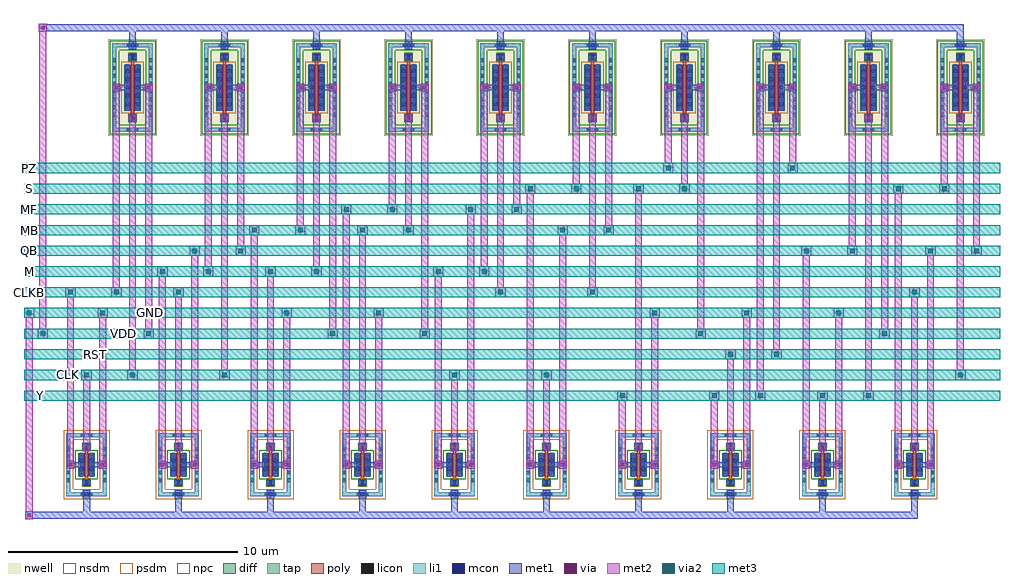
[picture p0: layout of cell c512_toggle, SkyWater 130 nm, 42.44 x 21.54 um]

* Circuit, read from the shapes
.subckt c512_toggle CLK CLKB GND M MB MF PZ QB RST S VDD Y
XM1 GND CLK CLKB GND sky130_fd_pr__nfet_01v8 w=1 l=0.15
XM2 QB CLKB M GND sky130_fd_pr__nfet_01v8 w=1 l=0.15
XM3 GND M MB GND sky130_fd_pr__nfet_01v8 w=1 l=0.15
XM4 GND MB MF GND sky130_fd_pr__nfet_01v8 w=1 l=0.15
XM5 MF CLK M GND sky130_fd_pr__nfet_01v8 w=1 l=0.15
XM6 MB CLK S GND sky130_fd_pr__nfet_01v8 w=1 l=0.15
XM7 GND S Y GND sky130_fd_pr__nfet_01v8 w=1 l=0.15
XM8 GND RST Y GND sky130_fd_pr__nfet_01v8 w=1 l=0.15
XM9 GND Y QB GND sky130_fd_pr__nfet_01v8 w=1 l=0.15
XM10 QB CLKB S GND sky130_fd_pr__nfet_01v8 w=1 l=0.15
XM11 VDD CLK CLKB VDD sky130_fd_pr__pfet_01v8 w=2 l=0.15
XM12 QB CLK M VDD sky130_fd_pr__pfet_01v8 w=2 l=0.15
XM13 VDD M MB VDD sky130_fd_pr__pfet_01v8 w=2 l=0.15
XM14 VDD MB MF VDD sky130_fd_pr__pfet_01v8 w=2 l=0.15
XM15 MF CLKB M VDD sky130_fd_pr__pfet_01v8 w=2 l=0.15
XM16 MB CLKB S VDD sky130_fd_pr__pfet_01v8 w=2 l=0.15
XM17 VDD S PZ VDD sky130_fd_pr__pfet_01v8 w=2 l=0.15
XM18 PZ RST Y VDD sky130_fd_pr__pfet_01v8 w=2 l=0.15
XM19 VDD Y QB VDD sky130_fd_pr__pfet_01v8 w=2 l=0.15
XM20 QB CLK S VDD sky130_fd_pr__pfet_01v8 w=2 l=0.15
.ends

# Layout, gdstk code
import gdstk
lib = gdstk.Library(unit=1e-6, precision=1e-09)
def R(c, l, rs):  # rectangles x0, y0, x1, y1
    for r in rs: c.add(gdstk.rectangle(r[:2], r[2:], *l))
def A(c, l, x, y, w, h, nx, ny, dx, dy):  # array of equal rectangles
    R(c, l, [(x+i*dx, y+j*dy, x+i*dx+w, y+j*dy+h) for i in range(nx) for j in range(ny)])
nwell = (64, 20)
diff = (65, 20)
tap = (65, 44)
poly = (66, 20)
licon = (66, 44)
li1 = (67, 20)
mcon = (67, 44)
met1 = (68, 20)
via = (68, 44)
met2 = (69, 20)
via2 = (69, 44)
met3 = (70, 20)
nsdm = (93, 44)
psdm = (94, 20)
npc = (95, 20)

c512_toggle = lib.new_cell('c512_toggle')
A(c512_toggle, nwell, 3.945, 14.305, 2.11, 4.19, 10, 1, 4, 0)
A(c512_toggle, diff, 2.635, -0.5, 0.73, 1, 10, 1, 4, 0)
A(c512_toggle, diff, 4.635, 15.4, 0.73, 2, 10, 1, 4, 0)
A(c512_toggle, tap, 2.125, -1.37, 1.75, 0.17, 10, 2, 4, 2.57)
A(c512_toggle, tap, 4.125, 14.485, 1.75, 0.17, 10, 2, 4, 3.66)
R(c512_toggle, tap, [(2.125,-1.2,2.295,1.2), (3.705,-1.2,3.875,1.2), (6.125,-1.2,6.295,1.2), (7.705,-1.2,7.875,1.2), (10.125,-1.2,10.295,1.2), (11.705,-1.2,11.875,1.2), (14.125,-1.2,14.295,1.2), (15.705,-1.2,15.875,1.2), (18.125,-1.2,18.295,1.2), (19.705,-1.2,19.875,1.2), (22.125,-1.2,22.295,1.2), (23.705,-1.2,23.875,1.2), (26.125,-1.2,26.295,1.2), (27.705,-1.2,27.875,1.2), (30.125,-1.2,30.295,1.2), (31.705,-1.2,31.875,1.2), (34.125,-1.2,34.295,1.2), (35.705,-1.2,35.875,1.2), (38.125,-1.2,38.295,1.2), (39.705,-1.2,39.875,1.2), (4.125,14.655,4.295,18.145), (5.705,14.655,5.875,18.145), (8.125,14.655,8.295,18.145), (9.705,14.655,9.875,18.145), (12.125,14.655,12.295,18.145), (13.705,14.655,13.875,18.145), (16.125,14.655,16.295,18.145), (17.705,14.655,17.875,18.145), (20.125,14.655,20.295,18.145), (21.705,14.655,21.875,18.145), (24.125,14.655,24.295,18.145), (25.705,14.655,25.875,18.145), (28.125,14.655,28.295,18.145), (29.705,14.655,29.875,18.145), (32.125,14.655,32.295,18.145), (33.705,14.655,33.875,18.145), (36.125,14.655,36.295,18.145), (37.705,14.655,37.875,18.145), (40.125,14.655,40.295,18.145), (41.705,14.655,41.875,18.145)])
A(c512_toggle, poly, 2.835, -0.94, 0.33, 0.33, 10, 2, 4, 1.55)
A(c512_toggle, poly, 2.925, -0.61, 0.15, 1.22, 10, 1, 4, 0)
A(c512_toggle, poly, 4.835, 14.915, 0.33, 0.33, 10, 2, 4, 2.64)
A(c512_toggle, poly, 4.925, 15.245, 0.15, 2.31, 10, 1, 4, 0)
A(c512_toggle, licon, 2.915, -0.86, 0.17, 0.17, 10, 2, 4, 1.55)
A(c512_toggle, licon, 2.125, -0.765, 0.17, 0.17, 1, 5, 0, 0.34)
A(c512_toggle, licon, 3.705, -0.765, 0.17, 0.17, 1, 5, 0, 0.34)
A(c512_toggle, licon, 6.125, -0.765, 0.17, 0.17, 1, 5, 0, 0.34)
A(c512_toggle, licon, 7.705, -0.765, 0.17, 0.17, 1, 5, 0, 0.34)
A(c512_toggle, licon, 10.125, -0.765, 0.17, 0.17, 1, 5, 0, 0.34)
A(c512_toggle, licon, 11.705, -0.765, 0.17, 0.17, 1, 5, 0, 0.34)
A(c512_toggle, licon, 14.125, -0.765, 0.17, 0.17, 1, 5, 0, 0.34)
A(c512_toggle, licon, 15.705, -0.765, 0.17, 0.17, 1, 5, 0, 0.34)
A(c512_toggle, licon, 18.125, -0.765, 0.17, 0.17, 1, 5, 0, 0.34)
A(c512_toggle, licon, 19.705, -0.765, 0.17, 0.17, 1, 5, 0, 0.34)
A(c512_toggle, licon, 22.125, -0.765, 0.17, 0.17, 1, 5, 0, 0.34)
A(c512_toggle, licon, 23.705, -0.765, 0.17, 0.17, 1, 5, 0, 0.34)
A(c512_toggle, licon, 26.125, -0.765, 0.17, 0.17, 1, 5, 0, 0.34)
A(c512_toggle, licon, 27.705, -0.765, 0.17, 0.17, 1, 5, 0, 0.34)
A(c512_toggle, licon, 30.125, -0.765, 0.17, 0.17, 1, 5, 0, 0.34)
A(c512_toggle, licon, 31.705, -0.765, 0.17, 0.17, 1, 5, 0, 0.34)
A(c512_toggle, licon, 34.125, -0.765, 0.17, 0.17, 1, 5, 0, 0.34)
A(c512_toggle, licon, 35.705, -0.765, 0.17, 0.17, 1, 5, 0, 0.34)
A(c512_toggle, licon, 38.125, -0.765, 0.17, 0.17, 1, 5, 0, 0.34)
A(c512_toggle, licon, 39.705, -0.765, 0.17, 0.17, 1, 5, 0, 0.34)
A(c512_toggle, licon, 2.695, -0.425, 0.17, 0.17, 1, 3, 0, 0.34)
A(c512_toggle, licon, 3.135, -0.425, 0.17, 0.17, 1, 3, 0, 0.34)
A(c512_toggle, licon, 6.695, -0.425, 0.17, 0.17, 1, 3, 0, 0.34)
A(c512_toggle, licon, 7.135, -0.425, 0.17, 0.17, 1, 3, 0, 0.34)
A(c512_toggle, licon, 10.695, -0.425, 0.17, 0.17, 1, 3, 0, 0.34)
A(c512_toggle, licon, 11.135, -0.425, 0.17, 0.17, 1, 3, 0, 0.34)
A(c512_toggle, licon, 14.695, -0.425, 0.17, 0.17, 1, 3, 0, 0.34)
A(c512_toggle, licon, 15.135, -0.425, 0.17, 0.17, 1, 3, 0, 0.34)
A(c512_toggle, licon, 18.695, -0.425, 0.17, 0.17, 1, 3, 0, 0.34)
A(c512_toggle, licon, 19.135, -0.425, 0.17, 0.17, 1, 3, 0, 0.34)
A(c512_toggle, licon, 22.695, -0.425, 0.17, 0.17, 1, 3, 0, 0.34)
A(c512_toggle, licon, 23.135, -0.425, 0.17, 0.17, 1, 3, 0, 0.34)
A(c512_toggle, licon, 26.695, -0.425, 0.17, 0.17, 1, 3, 0, 0.34)
A(c512_toggle, licon, 27.135, -0.425, 0.17, 0.17, 1, 3, 0, 0.34)
A(c512_toggle, licon, 30.695, -0.425, 0.17, 0.17, 1, 3, 0, 0.34)
A(c512_toggle, licon, 31.135, -0.425, 0.17, 0.17, 1, 3, 0, 0.34)
A(c512_toggle, licon, 34.695, -0.425, 0.17, 0.17, 1, 3, 0, 0.34)
A(c512_toggle, licon, 35.135, -0.425, 0.17, 0.17, 1, 3, 0, 0.34)
A(c512_toggle, licon, 38.695, -0.425, 0.17, 0.17, 1, 3, 0, 0.34)
A(c512_toggle, licon, 39.135, -0.425, 0.17, 0.17, 1, 3, 0, 0.34)
A(c512_toggle, licon, 4.915, 14.995, 0.17, 0.17, 10, 2, 4, 2.64)
A(c512_toggle, licon, 4.125, 15.125, 0.17, 0.17, 1, 8, 0, 0.34)
A(c512_toggle, licon, 5.705, 15.125, 0.17, 0.17, 1, 8, 0, 0.34)
A(c512_toggle, licon, 8.125, 15.125, 0.17, 0.17, 1, 8, 0, 0.34)
A(c512_toggle, licon, 9.705, 15.125, 0.17, 0.17, 1, 8, 0, 0.34)
A(c512_toggle, licon, 12.125, 15.125, 0.17, 0.17, 1, 8, 0, 0.34)
A(c512_toggle, licon, 13.705, 15.125, 0.17, 0.17, 1, 8, 0, 0.34)
A(c512_toggle, licon, 16.125, 15.125, 0.17, 0.17, 1, 8, 0, 0.34)
A(c512_toggle, licon, 17.705, 15.125, 0.17, 0.17, 1, 8, 0, 0.34)
A(c512_toggle, licon, 20.125, 15.125, 0.17, 0.17, 1, 8, 0, 0.34)
A(c512_toggle, licon, 21.705, 15.125, 0.17, 0.17, 1, 8, 0, 0.34)
A(c512_toggle, licon, 24.125, 15.125, 0.17, 0.17, 1, 8, 0, 0.34)
A(c512_toggle, licon, 25.705, 15.125, 0.17, 0.17, 1, 8, 0, 0.34)
A(c512_toggle, licon, 28.125, 15.125, 0.17, 0.17, 1, 8, 0, 0.34)
A(c512_toggle, licon, 29.705, 15.125, 0.17, 0.17, 1, 8, 0, 0.34)
A(c512_toggle, licon, 32.125, 15.125, 0.17, 0.17, 1, 8, 0, 0.34)
A(c512_toggle, licon, 33.705, 15.125, 0.17, 0.17, 1, 8, 0, 0.34)
A(c512_toggle, licon, 36.125, 15.125, 0.17, 0.17, 1, 8, 0, 0.34)
A(c512_toggle, licon, 37.705, 15.125, 0.17, 0.17, 1, 8, 0, 0.34)
A(c512_toggle, licon, 40.125, 15.125, 0.17, 0.17, 1, 8, 0, 0.34)
A(c512_toggle, licon, 41.705, 15.125, 0.17, 0.17, 1, 8, 0, 0.34)
A(c512_toggle, licon, 4.695, 15.465, 0.17, 0.17, 1, 6, 0, 0.34)
A(c512_toggle, licon, 5.135, 15.465, 0.17, 0.17, 1, 6, 0, 0.34)
A(c512_toggle, licon, 8.695, 15.465, 0.17, 0.17, 1, 6, 0, 0.34)
A(c512_toggle, licon, 9.135, 15.465, 0.17, 0.17, 1, 6, 0, 0.34)
A(c512_toggle, licon, 12.695, 15.465, 0.17, 0.17, 1, 6, 0, 0.34)
A(c512_toggle, licon, 13.135, 15.465, 0.17, 0.17, 1, 6, 0, 0.34)
A(c512_toggle, licon, 16.695, 15.465, 0.17, 0.17, 1, 6, 0, 0.34)
A(c512_toggle, licon, 17.135, 15.465, 0.17, 0.17, 1, 6, 0, 0.34)
A(c512_toggle, licon, 20.695, 15.465, 0.17, 0.17, 1, 6, 0, 0.34)
A(c512_toggle, licon, 21.135, 15.465, 0.17, 0.17, 1, 6, 0, 0.34)
A(c512_toggle, licon, 24.695, 15.465, 0.17, 0.17, 1, 6, 0, 0.34)
A(c512_toggle, licon, 25.135, 15.465, 0.17, 0.17, 1, 6, 0, 0.34)
A(c512_toggle, licon, 28.695, 15.465, 0.17, 0.17, 1, 6, 0, 0.34)
A(c512_toggle, licon, 29.135, 15.465, 0.17, 0.17, 1, 6, 0, 0.34)
A(c512_toggle, licon, 32.695, 15.465, 0.17, 0.17, 1, 6, 0, 0.34)
A(c512_toggle, licon, 33.135, 15.465, 0.17, 0.17, 1, 6, 0, 0.34)
A(c512_toggle, licon, 36.695, 15.465, 0.17, 0.17, 1, 6, 0, 0.34)
A(c512_toggle, licon, 37.135, 15.465, 0.17, 0.17, 1, 6, 0, 0.34)
A(c512_toggle, licon, 40.695, 15.465, 0.17, 0.17, 1, 6, 0, 0.34)
A(c512_toggle, licon, 41.135, 15.465, 0.17, 0.17, 1, 6, 0, 0.34)
R(c512_toggle, licon, [(2.745,-1.37,2.915,-1.2), (3.085,-1.37,3.255,-1.2), (6.745,-1.37,6.915,-1.2), (7.085,-1.37,7.255,-1.2), (10.745,-1.37,10.915,-1.2), (11.085,-1.37,11.255,-1.2), (14.745,-1.37,14.915,-1.2), (15.085,-1.37,15.255,-1.2), (18.745,-1.37,18.915,-1.2), (19.085,-1.37,19.255,-1.2), (22.745,-1.37,22.915,-1.2), (23.085,-1.37,23.255,-1.2), (26.745,-1.37,26.915,-1.2), (27.085,-1.37,27.255,-1.2), (30.745,-1.37,30.915,-1.2), (31.085,-1.37,31.255,-1.2), (34.745,-1.37,34.915,-1.2), (35.085,-1.37,35.255,-1.2), (38.745,-1.37,38.915,-1.2), (39.085,-1.37,39.255,-1.2), (2.745,1.2,2.915,1.37), (3.085,1.2,3.255,1.37), (6.745,1.2,6.915,1.37), (7.085,1.2,7.255,1.37), (10.745,1.2,10.915,1.37), (11.085,1.2,11.255,1.37), (14.745,1.2,14.915,1.37), (15.085,1.2,15.255,1.37), (18.745,1.2,18.915,1.37), (19.085,1.2,19.255,1.37), (22.745,1.2,22.915,1.37), (23.085,1.2,23.255,1.37), (26.745,1.2,26.915,1.37), (27.085,1.2,27.255,1.37), (30.745,1.2,30.915,1.37), (31.085,1.2,31.255,1.37), (34.745,1.2,34.915,1.37), (35.085,1.2,35.255,1.37), (38.745,1.2,38.915,1.37), (39.085,1.2,39.255,1.37), (4.745,14.485,4.915,14.655), (5.085,14.485,5.255,14.655), (8.745,14.485,8.915,14.655), (9.085,14.485,9.255,14.655), (12.745,14.485,12.915,14.655), (13.085,14.485,13.255,14.655), (16.745,14.485,16.915,14.655), (17.085,14.485,17.255,14.655), (20.745,14.485,20.915,14.655), (21.085,14.485,21.255,14.655), (24.745,14.485,24.915,14.655), (25.085,14.485,25.255,14.655), (28.745,14.485,28.915,14.655), (29.085,14.485,29.255,14.655), (32.745,14.485,32.915,14.655), (33.085,14.485,33.255,14.655), (36.745,14.485,36.915,14.655), (37.085,14.485,37.255,14.655), (40.745,14.485,40.915,14.655), (41.085,14.485,41.255,14.655), (4.745,18.145,4.915,18.315), (5.085,18.145,5.255,18.315), (8.745,18.145,8.915,18.315), (9.085,18.145,9.255,18.315), (12.745,18.145,12.915,18.315), (13.085,18.145,13.255,18.315), (16.745,18.145,16.915,18.315), (17.085,18.145,17.255,18.315), (20.745,18.145,20.915,18.315), (21.085,18.145,21.255,18.315), (24.745,18.145,24.915,18.315), (25.085,18.145,25.255,18.315), (28.745,18.145,28.915,18.315), (29.085,18.145,29.255,18.315), (32.745,18.145,32.915,18.315), (33.085,18.145,33.255,18.315), (36.745,18.145,36.915,18.315), (37.085,18.145,37.255,18.315), (40.745,18.145,40.915,18.315), (41.085,18.145,41.255,18.315)])
A(c512_toggle, li1, 2.83, -1.455, 0.34, 0.085, 10, 2, 4, 0.255)
A(c512_toggle, li1, 2.125, -1.37, 1.75, 0.17, 10, 2, 4, 2.57)
A(c512_toggle, li1, 2.835, -0.86, 0.33, 0.17, 10, 2, 4, 1.55)
A(c512_toggle, li1, 4.125, 14.485, 1.75, 0.17, 10, 2, 4, 3.66)
A(c512_toggle, li1, 4.835, 14.995, 0.33, 0.17, 10, 2, 4, 2.64)
A(c512_toggle, li1, 4.83, 18.06, 0.34, 0.085, 10, 2, 4, 0.255)
R(c512_toggle, li1, [(2.125,-1.2,2.295,1.2), (3.705,-1.2,3.875,1.2), (6.125,-1.2,6.295,1.2), (7.705,-1.2,7.875,1.2), (10.125,-1.2,10.295,1.2), (11.705,-1.2,11.875,1.2), (14.125,-1.2,14.295,1.2), (15.705,-1.2,15.875,1.2), (18.125,-1.2,18.295,1.2), (19.705,-1.2,19.875,1.2), (22.125,-1.2,22.295,1.2), (23.705,-1.2,23.875,1.2), (26.125,-1.2,26.295,1.2), (27.705,-1.2,27.875,1.2), (30.125,-1.2,30.295,1.2), (31.705,-1.2,31.875,1.2), (34.125,-1.2,34.295,1.2), (35.705,-1.2,35.875,1.2), (38.125,-1.2,38.295,1.2), (39.705,-1.2,39.875,1.2), (2.695,-0.52,2.865,0.52), (3.135,-0.52,3.305,0.52), (6.695,-0.52,6.865,0.52), (7.135,-0.52,7.305,0.52), (10.695,-0.52,10.865,0.52), (11.135,-0.52,11.305,0.52), (14.695,-0.52,14.865,0.52), (15.135,-0.52,15.305,0.52), (18.695,-0.52,18.865,0.52), (19.135,-0.52,19.305,0.52), (22.695,-0.52,22.865,0.52), (23.135,-0.52,23.305,0.52), (26.695,-0.52,26.865,0.52), (27.135,-0.52,27.305,0.52), (30.695,-0.52,30.865,0.52), (31.135,-0.52,31.305,0.52), (34.695,-0.52,34.865,0.52), (35.135,-0.52,35.305,0.52), (38.695,-0.52,38.865,0.52), (39.135,-0.52,39.305,0.52), (4.125,14.655,4.295,18.145), (5.705,14.655,5.875,18.145), (8.125,14.655,8.295,18.145), (9.705,14.655,9.875,18.145), (12.125,14.655,12.295,18.145), (13.705,14.655,13.875,18.145), (16.125,14.655,16.295,18.145), (17.705,14.655,17.875,18.145), (20.125,14.655,20.295,18.145), (21.705,14.655,21.875,18.145), (24.125,14.655,24.295,18.145), (25.705,14.655,25.875,18.145), (28.125,14.655,28.295,18.145), (29.705,14.655,29.875,18.145), (32.125,14.655,32.295,18.145), (33.705,14.655,33.875,18.145), (36.125,14.655,36.295,18.145), (37.705,14.655,37.875,18.145), (40.125,14.655,40.295,18.145), (41.705,14.655,41.875,18.145), (4.695,15.38,4.865,17.42), (5.135,15.38,5.305,17.42), (8.695,15.38,8.865,17.42), (9.135,15.38,9.305,17.42), (12.695,15.38,12.865,17.42), (13.135,15.38,13.305,17.42), (16.695,15.38,16.865,17.42), (17.135,15.38,17.305,17.42), (20.695,15.38,20.865,17.42), (21.135,15.38,21.305,17.42), (24.695,15.38,24.865,17.42), (25.135,15.38,25.305,17.42), (28.695,15.38,28.865,17.42), (29.135,15.38,29.305,17.42), (32.695,15.38,32.865,17.42), (33.135,15.38,33.305,17.42), (36.695,15.38,36.865,17.42), (37.135,15.38,37.305,17.42), (40.695,15.38,40.865,17.42), (41.135,15.38,41.305,17.42)])
A(c512_toggle, mcon, 2.915, -1.37, 0.17, 0.17, 10, 2, 4, 0.51)
A(c512_toggle, mcon, 2.915, 0.69, 0.17, 0.17, 10, 1, 4, 0)
A(c512_toggle, mcon, 4.915, 14.995, 0.17, 0.17, 10, 2, 4, 2.64)
A(c512_toggle, mcon, 4.695, 15.595, 0.17, 0.17, 1, 5, 0, 0.36)
A(c512_toggle, mcon, 5.135, 15.595, 0.17, 0.17, 1, 5, 0, 0.36)
A(c512_toggle, mcon, 8.695, 15.595, 0.17, 0.17, 1, 5, 0, 0.36)
A(c512_toggle, mcon, 9.135, 15.595, 0.17, 0.17, 1, 5, 0, 0.36)
A(c512_toggle, mcon, 12.695, 15.595, 0.17, 0.17, 1, 5, 0, 0.36)
A(c512_toggle, mcon, 13.135, 15.595, 0.17, 0.17, 1, 5, 0, 0.36)
A(c512_toggle, mcon, 16.695, 15.595, 0.17, 0.17, 1, 5, 0, 0.36)
A(c512_toggle, mcon, 17.135, 15.595, 0.17, 0.17, 1, 5, 0, 0.36)
A(c512_toggle, mcon, 20.695, 15.595, 0.17, 0.17, 1, 5, 0, 0.36)
A(c512_toggle, mcon, 21.135, 15.595, 0.17, 0.17, 1, 5, 0, 0.36)
A(c512_toggle, mcon, 24.695, 15.595, 0.17, 0.17, 1, 5, 0, 0.36)
A(c512_toggle, mcon, 25.135, 15.595, 0.17, 0.17, 1, 5, 0, 0.36)
A(c512_toggle, mcon, 28.695, 15.595, 0.17, 0.17, 1, 5, 0, 0.36)
A(c512_toggle, mcon, 29.135, 15.595, 0.17, 0.17, 1, 5, 0, 0.36)
A(c512_toggle, mcon, 32.695, 15.595, 0.17, 0.17, 1, 5, 0, 0.36)
A(c512_toggle, mcon, 33.135, 15.595, 0.17, 0.17, 1, 5, 0, 0.36)
A(c512_toggle, mcon, 36.695, 15.595, 0.17, 0.17, 1, 5, 0, 0.36)
A(c512_toggle, mcon, 37.135, 15.595, 0.17, 0.17, 1, 5, 0, 0.36)
A(c512_toggle, mcon, 40.695, 15.595, 0.17, 0.17, 1, 5, 0, 0.36)
A(c512_toggle, mcon, 41.135, 15.595, 0.17, 0.17, 1, 5, 0, 0.36)
A(c512_toggle, mcon, 4.915, 18.145, 0.17, 0.17, 10, 1, 4, 0)
R(c512_toggle, mcon, [(2.695,-0.265,2.865,-0.095), (3.135,-0.265,3.305,-0.095), (6.695,-0.265,6.865,-0.095), (7.135,-0.265,7.305,-0.095), (10.695,-0.265,10.865,-0.095), (11.135,-0.265,11.305,-0.095), (14.695,-0.265,14.865,-0.095), (15.135,-0.265,15.305,-0.095), (18.695,-0.265,18.865,-0.095), (19.135,-0.265,19.305,-0.095), (22.695,-0.265,22.865,-0.095), (23.135,-0.265,23.305,-0.095), (26.695,-0.265,26.865,-0.095), (27.135,-0.265,27.305,-0.095), (30.695,-0.265,30.865,-0.095), (31.135,-0.265,31.305,-0.095), (34.695,-0.265,34.865,-0.095), (35.135,-0.265,35.305,-0.095), (38.695,-0.265,38.865,-0.095), (39.135,-0.265,39.305,-0.095), (2.695,0.095,2.865,0.265), (3.135,0.095,3.305,0.265), (6.695,0.095,6.865,0.265), (7.135,0.095,7.305,0.265), (10.695,0.095,10.865,0.265), (11.135,0.095,11.305,0.265), (14.695,0.095,14.865,0.265), (15.135,0.095,15.305,0.265), (18.695,0.095,18.865,0.265), (19.135,0.095,19.305,0.265), (22.695,0.095,22.865,0.265), (23.135,0.095,23.305,0.265), (26.695,0.095,26.865,0.265), (27.135,0.095,27.305,0.265), (30.695,0.095,30.865,0.265), (31.135,0.095,31.305,0.265), (34.695,0.095,34.865,0.265), (35.135,0.095,35.305,0.265), (38.695,0.095,38.865,0.265), (39.135,0.095,39.305,0.265)])
A(c512_toggle, met1, 2.85, -2.05, 0.3, 0.595, 10, 1, 4, 0)
A(c512_toggle, met1, 2.83, -1.455, 0.34, 0.34, 10, 1, 4, 0)
A(c512_toggle, met1, 2.83, -0.905, 0.34, 0.26, 10, 2, 4, 1.55)
A(c512_toggle, met1, 4.83, 14.95, 0.34, 0.26, 10, 2, 4, 2.64)
A(c512_toggle, met1, 4.83, 18.06, 0.34, 0.34, 10, 1, 4, 0)
A(c512_toggle, met1, 4.85, 18.4, 0.3, 0.45, 10, 1, 4, 0)
R(c512_toggle, met1, [(0.33,-2.37,0.67,-2.35), (0.33,-2.35,39.15,-2.05), (0.33,-2.05,0.67,-2.03), (2.665,-0.5,2.895,-0.115), (3.105,-0.5,3.335,-0.115), (6.665,-0.5,6.895,-0.115), (7.105,-0.5,7.335,-0.115), (10.665,-0.5,10.895,-0.115), (11.105,-0.5,11.335,-0.115), (14.665,-0.5,14.895,-0.115), (15.105,-0.5,15.335,-0.115), (18.665,-0.5,18.895,-0.115), (19.105,-0.5,19.335,-0.115), (22.665,-0.5,22.895,-0.115), (23.105,-0.5,23.335,-0.115), (26.665,-0.5,26.895,-0.115), (27.105,-0.5,27.335,-0.115), (30.665,-0.5,30.895,-0.115), (31.105,-0.5,31.335,-0.115), (34.665,-0.5,34.895,-0.115), (35.105,-0.5,35.335,-0.115), (38.665,-0.5,38.895,-0.115), (39.105,-0.5,39.335,-0.115), (2.13,-0.17,2.47,-0.115), (3.53,-0.17,3.87,-0.115), (6.13,-0.17,6.47,-0.115), (7.53,-0.17,7.87,-0.115), (10.13,-0.17,10.47,-0.115), (11.53,-0.17,11.87,-0.115), (14.13,-0.17,14.47,-0.115), (15.53,-0.17,15.87,-0.115), (18.13,-0.17,18.47,-0.115), (19.53,-0.17,19.87,-0.115), (22.13,-0.17,22.47,-0.115), (23.53,-0.17,23.87,-0.115), (26.13,-0.17,26.47,-0.115), (27.53,-0.17,27.87,-0.115), (30.13,-0.17,30.47,-0.115), (31.53,-0.17,31.87,-0.115), (34.13,-0.17,34.47,-0.115), (35.53,-0.17,35.87,-0.115), (38.13,-0.17,38.47,-0.115), (39.53,-0.17,39.87,-0.115), (2.13,-0.115,2.895,0.115), (3.105,-0.115,3.87,0.115), (6.13,-0.115,6.895,0.115), (7.105,-0.115,7.87,0.115), (10.13,-0.115,10.895,0.115), (11.105,-0.115,11.87,0.115), (14.13,-0.115,14.895,0.115), (15.105,-0.115,15.87,0.115), (18.13,-0.115,18.895,0.115), (19.105,-0.115,19.87,0.115), (22.13,-0.115,22.895,0.115), (23.105,-0.115,23.87,0.115), (26.13,-0.115,26.895,0.115), (27.105,-0.115,27.87,0.115), (30.13,-0.115,30.895,0.115), (31.105,-0.115,31.87,0.115), (34.13,-0.115,34.895,0.115), (35.105,-0.115,35.87,0.115), (38.13,-0.115,38.895,0.115), (39.105,-0.115,39.87,0.115), (2.13,0.115,2.47,0.17), (2.665,0.115,2.895,0.5), (3.105,0.115,3.335,0.5), (3.53,0.115,3.87,0.17), (6.13,0.115,6.47,0.17), (6.665,0.115,6.895,0.5), (7.105,0.115,7.335,0.5), (7.53,0.115,7.87,0.17), (10.13,0.115,10.47,0.17), (10.665,0.115,10.895,0.5), (11.105,0.115,11.335,0.5), (11.53,0.115,11.87,0.17), (14.13,0.115,14.47,0.17), (14.665,0.115,14.895,0.5), (15.105,0.115,15.335,0.5), (15.53,0.115,15.87,0.17), (18.13,0.115,18.47,0.17), (18.665,0.115,18.895,0.5), (19.105,0.115,19.335,0.5), (19.53,0.115,19.87,0.17), (22.13,0.115,22.47,0.17), (22.665,0.115,22.895,0.5), (23.105,0.115,23.335,0.5), (23.53,0.115,23.87,0.17), (26.13,0.115,26.47,0.17), (26.665,0.115,26.895,0.5), (27.105,0.115,27.335,0.5), (27.53,0.115,27.87,0.17), (30.13,0.115,30.47,0.17), (30.665,0.115,30.895,0.5), (31.105,0.115,31.335,0.5), (31.53,0.115,31.87,0.17), (34.13,0.115,34.47,0.17), (34.665,0.115,34.895,0.5), (35.105,0.115,35.335,0.5), (35.53,0.115,35.87,0.17), (38.13,0.115,38.47,0.17), (38.665,0.115,38.895,0.5), (39.105,0.115,39.335,0.5), (39.53,0.115,39.87,0.17), (4.665,15.4,4.895,16.285), (5.105,15.4,5.335,16.285), (8.665,15.4,8.895,16.285), (9.105,15.4,9.335,16.285), (12.665,15.4,12.895,16.285), (13.105,15.4,13.335,16.285), (16.665,15.4,16.895,16.285), (17.105,15.4,17.335,16.285), (20.665,15.4,20.895,16.285), (21.105,15.4,21.335,16.285), (24.665,15.4,24.895,16.285), (25.105,15.4,25.335,16.285), (28.665,15.4,28.895,16.285), (29.105,15.4,29.335,16.285), (32.665,15.4,32.895,16.285), (33.105,15.4,33.335,16.285), (36.665,15.4,36.895,16.285), (37.105,15.4,37.335,16.285), (40.665,15.4,40.895,16.285), (41.105,15.4,41.335,16.285), (4.13,16.23,4.47,16.285), (5.53,16.23,5.87,16.285), (8.13,16.23,8.47,16.285), (9.53,16.23,9.87,16.285), (12.13,16.23,12.47,16.285), (13.53,16.23,13.87,16.285), (16.13,16.23,16.47,16.285), (17.53,16.23,17.87,16.285), (20.13,16.23,20.47,16.285), (21.53,16.23,21.87,16.285), (24.13,16.23,24.47,16.285), (25.53,16.23,25.87,16.285), (28.13,16.23,28.47,16.285), (29.53,16.23,29.87,16.285), (32.13,16.23,32.47,16.285), (33.53,16.23,33.87,16.285), (36.13,16.23,36.47,16.285), (37.53,16.23,37.87,16.285), (40.13,16.23,40.47,16.285), (41.53,16.23,41.87,16.285), (4.13,16.285,4.895,16.515), (5.105,16.285,5.87,16.515), (8.13,16.285,8.895,16.515), (9.105,16.285,9.87,16.515), (12.13,16.285,12.895,16.515), (13.105,16.285,13.87,16.515), (16.13,16.285,16.895,16.515), (17.105,16.285,17.87,16.515), (20.13,16.285,20.895,16.515), (21.105,16.285,21.87,16.515), (24.13,16.285,24.895,16.515), (25.105,16.285,25.87,16.515), (28.13,16.285,28.895,16.515), (29.105,16.285,29.87,16.515), (32.13,16.285,32.895,16.515), (33.105,16.285,33.87,16.515), (36.13,16.285,36.895,16.515), (37.105,16.285,37.87,16.515), (40.13,16.285,40.895,16.515), (41.105,16.285,41.87,16.515), (4.13,16.515,4.47,16.57), (4.665,16.515,4.895,17.4), (5.105,16.515,5.335,17.4), (5.53,16.515,5.87,16.57), (8.13,16.515,8.47,16.57), (8.665,16.515,8.895,17.4), (9.105,16.515,9.335,17.4), (9.53,16.515,9.87,16.57), (12.13,16.515,12.47,16.57), (12.665,16.515,12.895,17.4), (13.105,16.515,13.335,17.4), (13.53,16.515,13.87,16.57), (16.13,16.515,16.47,16.57), (16.665,16.515,16.895,17.4), (17.105,16.515,17.335,17.4), (17.53,16.515,17.87,16.57), (20.13,16.515,20.47,16.57), (20.665,16.515,20.895,17.4), (21.105,16.515,21.335,17.4), (21.53,16.515,21.87,16.57), (24.13,16.515,24.47,16.57), (24.665,16.515,24.895,17.4), (25.105,16.515,25.335,17.4), (25.53,16.515,25.87,16.57), (28.13,16.515,28.47,16.57), (28.665,16.515,28.895,17.4), (29.105,16.515,29.335,17.4), (29.53,16.515,29.87,16.57), (32.13,16.515,32.47,16.57), (32.665,16.515,32.895,17.4), (33.105,16.515,33.335,17.4), (33.53,16.515,33.87,16.57), (36.13,16.515,36.47,16.57), (36.665,16.515,36.895,17.4), (37.105,16.515,37.335,17.4), (37.53,16.515,37.87,16.57), (40.13,16.515,40.47,16.57), (40.665,16.515,40.895,17.4), (41.105,16.515,41.335,17.4), (41.53,16.515,41.87,16.57), (0.93,18.83,1.27,18.85), (0.93,18.85,41.15,19.15), (0.93,19.15,1.27,19.17)])
A(c512_toggle, via, 2.925, 0.7, 0.15, 0.15, 10, 1, 4, 0)
A(c512_toggle, via, 4.925, 15.005, 0.15, 0.15, 10, 1, 4, 0)
R(c512_toggle, via, [(0.425,-2.275,0.575,-2.125), (2.225,-0.075,2.375,0.075), (3.625,-0.075,3.775,0.075), (6.225,-0.075,6.375,0.075), (7.625,-0.075,7.775,0.075), (10.225,-0.075,10.375,0.075), (11.625,-0.075,11.775,0.075), (14.225,-0.075,14.375,0.075), (15.625,-0.075,15.775,0.075), (18.225,-0.075,18.375,0.075), (19.625,-0.075,19.775,0.075), (22.225,-0.075,22.375,0.075), (23.625,-0.075,23.775,0.075), (26.225,-0.075,26.375,0.075), (27.625,-0.075,27.775,0.075), (30.225,-0.075,30.375,0.075), (31.625,-0.075,31.775,0.075), (34.225,-0.075,34.375,0.075), (35.625,-0.075,35.775,0.075), (38.225,-0.075,38.375,0.075), (39.625,-0.075,39.775,0.075), (4.225,16.325,4.375,16.475), (5.625,16.325,5.775,16.475), (8.225,16.325,8.375,16.475), (9.625,16.325,9.775,16.475), (12.225,16.325,12.375,16.475), (13.625,16.325,13.775,16.475), (16.225,16.325,16.375,16.475), (17.625,16.325,17.775,16.475), (20.225,16.325,20.375,16.475), (21.625,16.325,21.775,16.475), (24.225,16.325,24.375,16.475), (25.625,16.325,25.775,16.475), (28.225,16.325,28.375,16.475), (29.625,16.325,29.775,16.475), (32.225,16.325,32.375,16.475), (33.625,16.325,33.775,16.475), (36.225,16.325,36.375,16.475), (37.625,16.325,37.775,16.475), (40.225,16.325,40.375,16.475), (41.625,16.325,41.775,16.475), (1.025,18.925,1.175,19.075)])
A(c512_toggle, met2, 27.55, 0.17, 0.3, 6.21, 3, 1, 4, 0)
A(c512_toggle, met2, 2.83, 0.605, 0.34, 0.34, 10, 1, 4, 0)
A(c512_toggle, met2, 27.48, 6.38, 0.44, 0.44, 3, 1, 4, 0)
A(c512_toggle, met2, 4.83, 14.91, 0.34, 0.34, 10, 1, 4, 0)
R(c512_toggle, met2, [(0.33,-2.37,0.67,-2.03), (0.35,-2.03,0.65,6.38), (2.13,-0.17,2.47,0.17), (3.53,-0.17,3.87,0.17), (6.13,-0.17,6.47,0.17), (7.53,-0.17,7.87,0.17), (10.13,-0.17,10.47,0.17), (11.53,-0.17,11.87,0.17), (14.13,-0.17,14.47,0.17), (15.53,-0.17,15.87,0.17), (18.13,-0.17,18.47,0.17), (19.53,-0.17,19.87,0.17), (22.13,-0.17,22.47,0.17), (23.53,-0.17,23.87,0.17), (26.13,-0.17,26.47,0.17), (27.53,-0.17,27.87,0.17), (30.13,-0.17,30.47,0.17), (31.53,-0.17,31.87,0.17), (34.13,-0.17,34.47,0.17), (35.53,-0.17,35.87,0.17), (38.13,-0.17,38.47,0.17), (39.53,-0.17,39.87,0.17), (2.15,0.17,2.45,7.28), (3.55,0.17,3.85,6.38), (6.15,0.17,6.45,8.18), (7.55,0.17,7.85,9.08), (10.15,0.17,10.45,9.98), (11.55,0.17,11.85,6.38), (14.15,0.17,14.45,10.88), (15.55,0.17,15.85,6.38), (18.15,0.17,18.45,8.18), (19.55,0.17,19.85,10.88), (22.15,0.17,22.45,11.78), (23.55,0.17,23.85,9.98), (26.15,0.17,26.45,2.78), (30.15,0.17,30.45,2.78), (34.15,0.17,34.45,9.08), (38.15,0.17,38.45,11.78), (39.55,0.17,39.85,9.08), (2.85,0.945,3.15,3.68), (6.85,0.945,7.15,7.28), (10.85,0.945,11.15,8.18), (14.85,0.945,15.15,9.98), (18.85,0.945,19.15,3.68), (22.85,0.945,23.15,3.68), (26.85,0.945,27.15,11.78), (30.85,0.945,31.15,4.58), (34.85,0.945,35.15,2.78), (38.85,0.945,39.15,7.28), (26.08,2.78,26.52,3.22), (30.08,2.78,30.52,3.22), (32.08,2.78,32.52,3.22), (34.78,2.78,35.22,3.22), (36.78,2.78,37.22,3.22), (32.15,3.22,32.45,16.23), (36.85,3.22,37.15,14.91), (2.78,3.68,3.22,4.12), (4.78,3.68,5.22,4.12), (8.78,3.68,9.22,4.12), (18.78,3.68,19.22,4.12), (22.78,3.68,23.22,4.12), (40.78,3.68,41.22,4.12), (4.85,4.12,5.15,14.91), (8.85,4.12,9.15,14.91), (40.85,4.12,41.15,14.91), (30.78,4.58,31.22,5.02), (32.78,4.58,33.22,5.02), (32.85,5.02,33.15,14.91), (0.88,5.48,1.32,5.92), (5.48,5.48,5.92,5.92), (13.48,5.48,13.92,5.92), (17.48,5.48,17.92,5.92), (29.48,5.48,29.92,5.92), (37.48,5.48,37.92,5.92), (0.95,5.92,1.25,18.83), (5.55,5.92,5.85,16.23), (13.55,5.92,13.85,16.23), (17.55,5.92,17.85,16.23), (29.55,5.92,29.85,16.23), (37.55,5.92,37.85,16.23), (0.28,6.38,0.72,6.82), (3.48,6.38,3.92,6.82), (11.48,6.38,11.92,6.82), (15.48,6.38,15.92,6.82), (2.08,7.28,2.52,7.72), (4.08,7.28,4.52,7.72), (6.78,7.28,7.22,7.72), (20.78,7.28,21.22,7.72), (24.78,7.28,25.22,7.72), (38.78,7.28,39.22,7.72), (4.15,7.72,4.45,16.23), (20.85,7.72,21.15,14.91), (24.85,7.72,25.15,14.91), (6.08,8.18,6.52,8.62), (8.08,8.18,8.52,8.62), (10.78,8.18,11.22,8.62), (12.78,8.18,13.22,8.62), (18.08,8.18,18.52,8.62), (20.08,8.18,20.52,8.62), (8.15,8.62,8.45,16.23), (12.85,8.62,13.15,14.91), (20.15,8.62,20.45,16.23), (7.48,9.08,7.92,9.52), (9.48,9.08,9.92,9.52), (34.08,9.08,34.52,9.52), (36.08,9.08,36.52,9.52), (39.48,9.08,39.92,9.52), (41.48,9.08,41.92,9.52), (9.55,9.52,9.85,16.23), (36.15,9.52,36.45,16.23), (41.55,9.52,41.85,16.23), (10.08,9.98,10.52,10.42), (12.08,9.98,12.52,10.42), (14.78,9.98,15.22,10.42), (16.78,9.98,17.22,10.42), (23.48,9.98,23.92,10.42), (25.48,9.98,25.92,10.42), (12.15,10.42,12.45,16.23), (16.85,10.42,17.15,14.91), (25.55,10.42,25.85,16.23), (14.08,10.88,14.52,11.32), (16.08,10.88,16.52,11.32), (19.48,10.88,19.92,11.32), (21.48,10.88,21.92,11.32), (16.15,11.32,16.45,16.23), (21.55,11.32,21.85,16.23), (22.08,11.78,22.52,12.22), (24.08,11.78,24.52,12.22), (26.78,11.78,27.22,12.22), (28.78,11.78,29.22,12.22), (38.08,11.78,38.52,12.22), (40.08,11.78,40.52,12.22), (24.15,12.22,24.45,16.23), (28.85,12.22,29.15,14.91), (40.15,12.22,40.45,16.23), (28.08,12.68,28.52,13.12), (33.48,12.68,33.92,13.12), (28.15,13.12,28.45,16.23), (33.55,13.12,33.85,16.23), (4.13,16.23,4.47,16.57), (5.53,16.23,5.87,16.57), (8.13,16.23,8.47,16.57), (9.53,16.23,9.87,16.57), (12.13,16.23,12.47,16.57), (13.53,16.23,13.87,16.57), (16.13,16.23,16.47,16.57), (17.53,16.23,17.87,16.57), (20.13,16.23,20.47,16.57), (21.53,16.23,21.87,16.57), (24.13,16.23,24.47,16.57), (25.53,16.23,25.87,16.57), (28.13,16.23,28.47,16.57), (29.53,16.23,29.87,16.57), (32.13,16.23,32.47,16.57), (33.53,16.23,33.87,16.57), (36.13,16.23,36.47,16.57), (37.53,16.23,37.87,16.57), (40.13,16.23,40.47,16.57), (41.53,16.23,41.87,16.57), (0.93,18.83,1.27,19.17)])
A(c512_toggle, via2, 27.6, 6.5, 0.2, 0.2, 3, 1, 4, 0)
R(c512_toggle, via2, [(26.2,2.9,26.4,3.1), (30.2,2.9,30.4,3.1), (32.2,2.9,32.4,3.1), (34.9,2.9,35.1,3.1), (36.9,2.9,37.1,3.1), (2.9,3.8,3.1,4), (4.9,3.8,5.1,4), (8.9,3.8,9.1,4), (18.9,3.8,19.1,4), (22.9,3.8,23.1,4), (40.9,3.8,41.1,4), (30.9,4.7,31.1,4.9), (32.9,4.7,33.1,4.9), (1,5.6,1.2,5.8), (5.6,5.6,5.8,5.8), (13.6,5.6,13.8,5.8), (17.6,5.6,17.8,5.8), (29.6,5.6,29.8,5.8), (37.6,5.6,37.8,5.8), (0.4,6.5,0.6,6.7), (3.6,6.5,3.8,6.7), (11.6,6.5,11.8,6.7), (15.6,6.5,15.8,6.7), (2.2,7.4,2.4,7.6), (4.2,7.4,4.4,7.6), (6.9,7.4,7.1,7.6), (20.9,7.4,21.1,7.6), (24.9,7.4,25.1,7.6), (38.9,7.4,39.1,7.6), (6.2,8.3,6.4,8.5), (8.2,8.3,8.4,8.5), (10.9,8.3,11.1,8.5), (12.9,8.3,13.1,8.5), (18.2,8.3,18.4,8.5), (20.2,8.3,20.4,8.5), (7.6,9.2,7.8,9.4), (9.6,9.2,9.8,9.4), (34.2,9.2,34.4,9.4), (36.2,9.2,36.4,9.4), (39.6,9.2,39.8,9.4), (41.6,9.2,41.8,9.4), (10.2,10.1,10.4,10.3), (12.2,10.1,12.4,10.3), (14.9,10.1,15.1,10.3), (16.9,10.1,17.1,10.3), (23.6,10.1,23.8,10.3), (25.6,10.1,25.8,10.3), (14.2,11,14.4,11.2), (16.2,11,16.4,11.2), (19.6,11,19.8,11.2), (21.6,11,21.8,11.2), (22.2,11.9,22.4,12.1), (24.2,11.9,24.4,12.1), (26.9,11.9,27.1,12.1), (28.9,11.9,29.1,12.1), (38.2,11.9,38.4,12.1), (40.2,11.9,40.4,12.1), (28.2,12.8,28.4,13), (33.6,12.8,33.8,13)])
A(c512_toggle, met3, 0.28, 2.78, 42.44, 0.44, 1, 12, 0, 0.9)
A(c512_toggle, nsdm, 2.51, -0.625, 0.98, 1.25, 10, 1, 4, 0)
A(c512_toggle, nsdm, 4, 14.36, 2, 0.42, 10, 2, 4, 3.66)
R(c512_toggle, nsdm, [(4,14.78,4.42,18.02), (5.58,14.78,6,18.02), (8,14.78,8.42,18.02), (9.58,14.78,10,18.02), (12,14.78,12.42,18.02), (13.58,14.78,14,18.02), (16,14.78,16.42,18.02), (17.58,14.78,18,18.02), (20,14.78,20.42,18.02), (21.58,14.78,22,18.02), (24,14.78,24.42,18.02), (25.58,14.78,26,18.02), (28,14.78,28.42,18.02), (29.58,14.78,30,18.02), (32,14.78,32.42,18.02), (33.58,14.78,34,18.02), (36,14.78,36.42,18.02), (37.58,14.78,38,18.02), (40,14.78,40.42,18.02), (41.58,14.78,42,18.02)])
A(c512_toggle, psdm, 2, -1.495, 2, 0.42, 10, 2, 4, 2.57)
A(c512_toggle, psdm, 4.51, 15.275, 0.98, 2.25, 10, 1, 4, 0)
R(c512_toggle, psdm, [(2,-1.075,2.42,1.075), (3.58,-1.075,4,1.075), (6,-1.075,6.42,1.075), (7.58,-1.075,8,1.075), (10,-1.075,10.42,1.075), (11.58,-1.075,12,1.075), (14,-1.075,14.42,1.075), (15.58,-1.075,16,1.075), (18,-1.075,18.42,1.075), (19.58,-1.075,20,1.075), (22,-1.075,22.42,1.075), (23.58,-1.075,24,1.075), (26,-1.075,26.42,1.075), (27.58,-1.075,28,1.075), (30,-1.075,30.42,1.075), (31.58,-1.075,32,1.075), (34,-1.075,34.42,1.075), (35.58,-1.075,36,1.075), (38,-1.075,38.42,1.075), (39.58,-1.075,40,1.075)])
A(c512_toggle, npc, 2.815, -0.96, 0.37, 0.37, 10, 2, 4, 1.55)
A(c512_toggle, npc, 4.815, 14.895, 0.37, 0.37, 10, 2, 4, 2.64)
c512_toggle.add(gdstk.Label('CLKB', (0.5,7.5), layer=70, texttype=5))
c512_toggle.add(gdstk.Label('M', (0.5,8.4), layer=70, texttype=5))
c512_toggle.add(gdstk.Label('QB', (0.5,9.3), layer=70, texttype=5))
c512_toggle.add(gdstk.Label('MB', (0.5,10.2), layer=70, texttype=5))
c512_toggle.add(gdstk.Label('MF', (0.5,11.1), layer=70, texttype=5))
c512_toggle.add(gdstk.Label('S', (0.5,12), layer=70, texttype=5))
c512_toggle.add(gdstk.Label('PZ', (0.5,12.9), layer=70, texttype=5))
c512_toggle.add(gdstk.Label('Y', (1,3), layer=70, texttype=5))
c512_toggle.add(gdstk.Label('CLK', (2.2,3.9), layer=70, texttype=5))
c512_toggle.add(gdstk.Label('RST', (3.4,4.8), layer=70, texttype=5))
c512_toggle.add(gdstk.Label('VDD', (4.6,5.7), layer=70, texttype=5))
c512_toggle.add(gdstk.Label('GND', (5.8,6.6), layer=70, texttype=5))

lib.write_gds('c512_toggle.gds')
